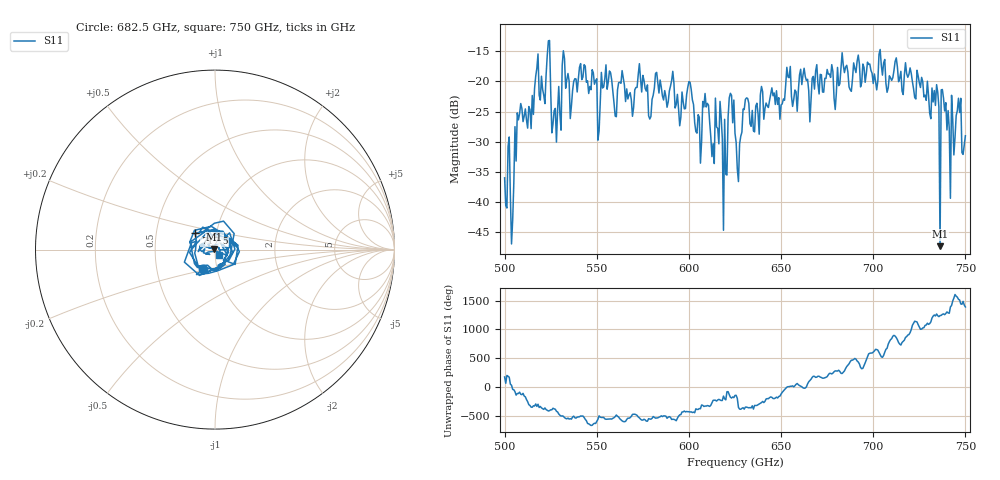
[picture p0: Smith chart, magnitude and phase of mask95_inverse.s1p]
!Created with skrf (http://scikit-rf.org).
# GHz S MA R 50.0
!freq magS11 angS11
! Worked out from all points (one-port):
!   401 points, 500 GHz to 750 GHz, reference 50 ohm
!   lowest |S11| = -47.3 dB at 736.2 GHz (marker M1), VSWR 1.01, Z = 49.6 + j0.15 ohm
!   |S11| at or under -10 dB: start of sweep to end of sweep
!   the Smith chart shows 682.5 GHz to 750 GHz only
!   S11 on the Smith chart (normalised r, x): 682.5 GHz: 0.85, -0.19; 717.5 GHz: 0.79, +0.15; 750 GHz: 1.04, -0.06
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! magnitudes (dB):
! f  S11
! 500 GHz  -36.0
! 504.4 GHz  -43.0
! 508.1 GHz  -25.3
! 513.1 GHz  -24.2
! 517.5 GHz  -17.8
! 523.8 GHz  -13.3
! 526.9 GHz  -24.8
! 531.2 GHz  -17.3
! 562.5 GHz  -20.1
! 593.8 GHz  -22.1
! 600.6 GHz  -20.1
! 605.6 GHz  -25.9
! 609.4 GHz  -24.2
! 612.5 GHz  -32.5
! 616.9 GHz  -23.3
! 619.4 GHz  -26.3
! 622.5 GHz  -22.0
! 625 GHz  -28.6
! 656.2 GHz  -24.1
! 682.5 GHz  -17.8
! 687.5 GHz  -21.4
! 717.5 GHz  -16.9
! 718.8 GHz  -19.3
! 736.2 GHz  -47.3
! 738.1 GHz  -22.8
! 743.1 GHz  -26.3
! 746.2 GHz  -22.8
! 750 GHz  -29.0
